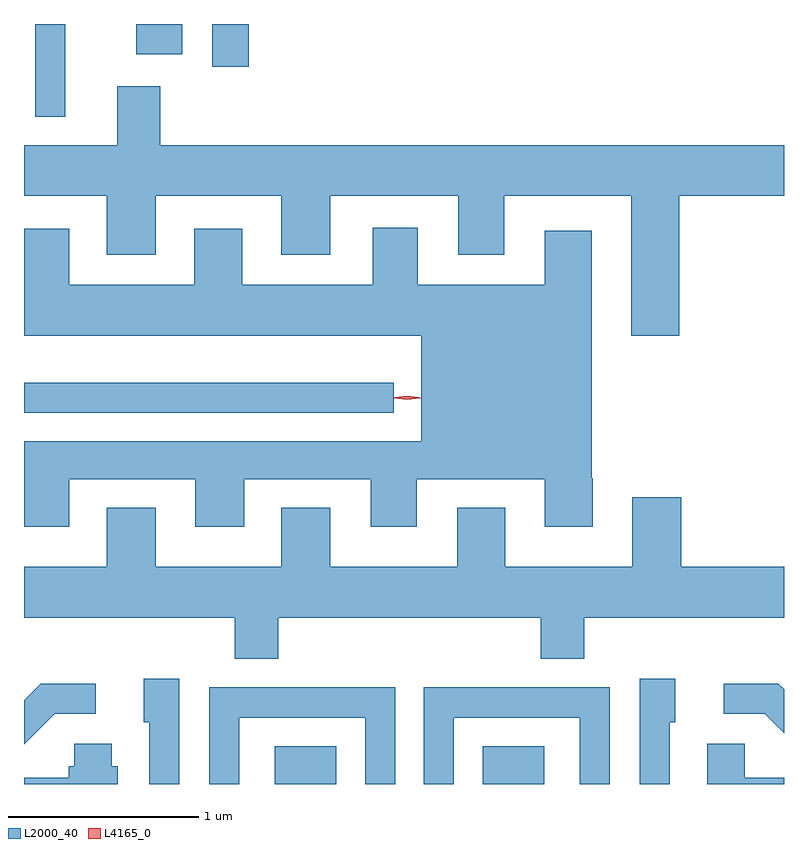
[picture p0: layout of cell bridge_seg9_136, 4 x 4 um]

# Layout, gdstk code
import gdstk
lib = gdstk.Library(unit=1e-6, precision=1e-09)
def R(c, l, rs):  # rectangles x0, y0, x1, y1
    for r in rs: c.add(gdstk.rectangle(r[:2], r[2:], *l))
def P(c, l, *ps):  # polygons
    for p in ps: c.add(gdstk.Polygon(p, *l))
L2000_40 = (2000, 40)
L4165_0 = (4165, 0)

bridge_seg9_136 = lib.new_cell('bridge_seg9_136')
R(bridge_seg9_136, L2000_40, [(1341.521,2044.221,1341.844,2044.419), (1342.616,2044.221,1342.939,2044.419), (1340.201,2046.176,1342.148,2046.334), (1340.261,2047.733,1340.419,2048.221), (1341.191,2047.996,1341.384,2048.221), (1340.791,2048.061,1341.034,2048.221)])
P(bridge_seg9_136, L2000_40, [(1343.649,2047.316),(1344.201,2047.316),(1344.201,2047.584),(1340.919,2047.584),(1340.919,2047.894),(1340.691,2047.894),(1340.691,2047.584),(1340.201,2047.584),(1340.201,2047.316),(1340.636,2047.316),(1340.636,2047.006),(1340.894,2047.006),(1340.894,2047.316),(1341.556,2047.316),(1341.556,2047.006),(1341.814,2047.006),(1341.814,2047.316),(1342.486,2047.316),(1342.486,2047.006),(1342.729,2047.006),(1342.729,2047.316),(1343.396,2047.316),(1343.396,2046.581),(1343.649,2046.581)],
  [(1340.439,2045.826),(1341.101,2045.826),(1341.101,2045.576),(1341.359,2045.576),(1341.359,2045.826),(1342.026,2045.826),(1342.026,2045.576),(1342.269,2045.576),(1342.269,2045.826),(1342.941,2045.826),(1342.941,2045.576),(1343.194,2045.576),(1343.194,2045.83),(1343.189,2045.83),(1343.189,2047.134),(1342.941,2047.134),(1342.941,2046.849),(1342.274,2046.849),(1342.274,2047.149),(1342.036,2047.149),(1342.036,2046.849),(1341.349,2046.849),(1341.349,2047.144),(1341.096,2047.144),(1341.096,2046.849),(1340.439,2046.849),(1340.439,2047.144),(1340.201,2047.144),(1340.201,2046.581),(1342.291,2046.581),(1342.291,2046.024),(1340.201,2046.024),(1340.201,2045.576),(1340.439,2045.576)],
  [(1342.921,2044.881),(1343.149,2044.881),(1343.149,2045.096),(1344.201,2045.096),(1344.201,2045.364),(1343.659,2045.364),(1343.659,2045.729),(1343.401,2045.729),(1343.401,2045.364),(1342.734,2045.364),(1342.734,2045.674),(1342.481,2045.674),(1342.481,2045.364),(1341.814,2045.364),(1341.814,2045.674),(1341.556,2045.674),(1341.556,2045.364),(1340.894,2045.364),(1340.894,2045.674),(1340.636,2045.674),(1340.636,2045.364),(1340.201,2045.364),(1340.201,2045.096),(1341.311,2045.096),(1341.311,2044.881),(1341.539,2044.881),(1341.539,2045.096),(1342.921,2045.096)],
  [(1341.019,2044.774),(1340.831,2044.774),(1340.831,2044.546),(1340.861,2044.546),(1340.861,2044.221),(1341.019,2044.221)],
  [(1343.599,2044.546),(1343.629,2044.546),(1343.629,2044.774),(1343.441,2044.774),(1343.441,2044.221),(1343.599,2044.221)],
  [(1344.201,2044.72),(1344.172,2044.749),(1343.883,2044.749),(1343.883,2044.591),(1344.099,2044.591),(1344.201,2044.489)],
  [(1340.362,2044.591),(1340.578,2044.591),(1340.578,2044.749),(1340.289,2044.749),(1340.201,2044.661),(1340.201,2044.43)],
  [(1341.334,2044.571),(1341.996,2044.571),(1341.996,2044.221),(1342.154,2044.221),(1342.154,2044.729),(1341.176,2044.729),(1341.176,2044.221),(1341.334,2044.221)],
  [(1342.464,2044.571),(1343.126,2044.571),(1343.126,2044.221),(1343.284,2044.221),(1343.284,2044.729),(1342.306,2044.729),(1342.306,2044.221),(1342.464,2044.221)],
  [(1344.201,2044.254),(1343.994,2044.254),(1343.994,2044.434),(1343.796,2044.434),(1343.796,2044.221),(1344.201,2044.221)],
  [(1340.694,2044.314),(1340.664,2044.314),(1340.664,2044.434),(1340.466,2044.434),(1340.466,2044.314),(1340.436,2044.314),(1340.436,2044.254),(1340.201,2044.254),(1340.201,2044.221),(1340.694,2044.221)])
P(bridge_seg9_136, L4165_0, [(1342.218,2046.243),(1342.15,2046.252),(1342.149,2046.253),(1342.15,2046.253),(1342.218,2046.262),(1342.287,2046.253),(1342.288,2046.252),(1342.287,2046.252)],
  [(1342.215,2046.245),(1342.154,2046.255),(1342.153,2046.255),(1342.154,2046.256),(1342.215,2046.265),(1342.277,2046.256),(1342.278,2046.256),(1342.277,2046.255)])

lib.write_gds('bridge_seg9_136.gds')
